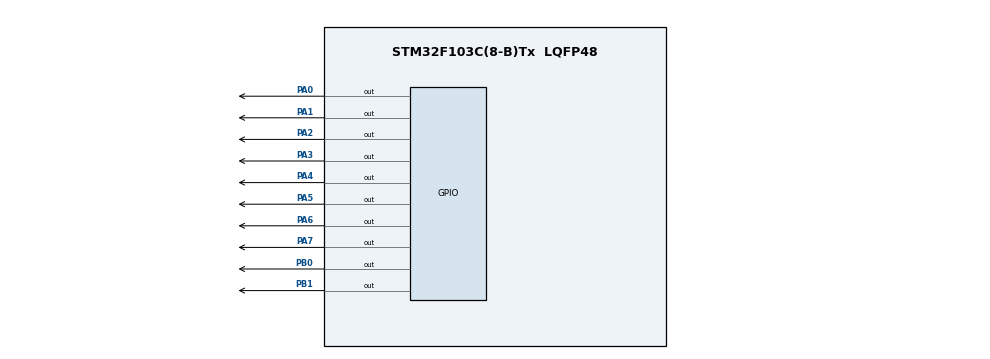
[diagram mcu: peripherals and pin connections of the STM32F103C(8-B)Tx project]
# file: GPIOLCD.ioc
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Mcu.Family=STM32F1
Mcu.Name=STM32F103C(8-B)Tx
Mcu.Package=LQFP48
NVIC.PriorityGroup=NVIC_PRIORITYGROUP_4
PA0-WKUP.Signal=GPIO_Output
PA1.Signal=GPIO_Output
PA2.Signal=GPIO_Output
PA3.Signal=GPIO_Output
PA4.Signal=GPIO_Output
PA5.Signal=GPIO_Output
PA6.Signal=GPIO_Output
PA7.Signal=GPIO_Output
PB0.Signal=GPIO_Output
PB1.Signal=GPIO_Output
ProjectManager.HeapSize=0x200
ProjectManager.StackSize=0x400
ProjectManager.TargetToolchain=MDK-ARM V5.32
RCC.APB1Freq_Value=8000000
RCC.APB2Freq_Value=8000000
VP_SYS_VS_ND.Mode=No_Debug
board=custom

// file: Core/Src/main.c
/* USER CODE BEGIN Header */
/**
  ******************************************************************************
  * @file           : main.c
  * @brief          : Main program body
  ******************************************************************************
  * @attention
  *
  * Copyright (c) 2024 STMicroelectronics.
  * All rights reserved.
  *
  * This software is licensed under terms that can be found in the LICENSE file
  * in the root directory of this software component.
  * If no LICENSE file comes with this software, it is provided AS-IS.
  *
  ******************************************************************************
  */
/* USER CODE END Header */
#include "main.h"

void SystemClock_Config(void);
static void MX_GPIO_Init(void);

/* USER CODE BEGIN 0 */
void send8BitLCD(char D){
	GPIOA->BSRR=D&1?(1):(1<<16);
	GPIOA->BSRR=D&2?(1<<1):(1<<17);
	GPIOA->BSRR=D&4?(1<<2):(1<<18);
	GPIOA->BSRR=D&8?(1<<3):(1<<19);
	GPIOA->BSRR=D&16?(1<<4):(1<<20);
	GPIOA->BSRR=D&32?(1<<5):(1<<21);
	GPIOA->BSRR=D&64?(1<<6):(1<<22);
	GPIOA->BSRR=D&128?(1<<7):(1<<23);
}
void sendCMD2LCD(char cmd){
	//B1. Done
	//B2. Dat chan RS =0, de noi rang cmd  là lenh
	GPIOB->BSRR=GPIO_PIN_0<<16;
	//B3. Gui 8 bit CMD vao 8 pin
	send8BitLCD(cmd);
	//B4. Enable cho cmd-->lcd

	/*
	Day la su khac biet khi su dung HAL API va lap trinh thanh ghi truc tiep
	Do khi set bit pin1 dung HAL API thi khi set bit se xay ra do tre va luc do
	lcd co the nhan tin hieu enable tu stm32 nhung khi lap trinh bang thanh ghi thi
	kha nang xu ly cau lenh nhanh hon nhieu so voi HAL nen lcd chua nhan duoc tin hieu
	kich hoat tu stm32 do dó phai them delay giua 2 lan set bit neu su dung thanh ghi
	*/
	/*HAL_GPIO_WritePin(GPIOB, GPIO_PIN_1,  GPIO_PIN_SET);
	HAL_GPIO_WritePin(GPIOB, GPIO_PIN_1,  GPIO_PIN_RESET);*/
	GPIOB->BSRR=1<<1;
	HAL_Delay(1);
	GPIOB->BSRR=1<<17;

	//
	HAL_Delay(1);
}
void sendChar2LCD(char Char) {
	//B1. Done
	//B2. Dat chan RS =1,
	GPIOB->BSRR=GPIO_PIN_0;
	//B3. Gui 8 bit CMD vao 8 pin
	send8BitLCD(Char);
	//B4. Enable cho cmd-->lcd

	/*
	Day la su khac biet khi su dung HAL API va lap trinh thanh ghi truc tiep
	Do khi set bit pin1 dung HAL API thi khi set bit se xay ra do tre va luc do
	lcd co the nhan tin hieu enable tu stm32 nhung khi lap trinh bang thanh ghi thi
	kha nang xu ly cau lenh nhanh hon nhieu so voi HAL nen lcd chua nhan duoc tin hieu
	kich hoat tu stm32 do dó phai them delay giua 2 lan set bit neu su dung thanh ghi
	*/
	/*HAL_GPIO_WritePin(GPIOB, GPIO_PIN_1,  GPIO_PIN_SET);
	HAL_GPIO_WritePin(GPIOB, GPIO_PIN_1,  GPIO_PIN_RESET);*/
	GPIOB->BSRR=1<<1;
	HAL_Delay(1);
	GPIOB->BSRR=1<<17;

	//
	HAL_Delay(1);
}
void sendString2LCD(char *str) {
   for (int i=0; str[i] != '\0';  i++) {
			sendChar2LCD(str[i]);
   }
}
/* USER CODE END 0 */

int main(void)
{

  /* MCU Configuration--------------------------------------------------------*/

  /* Reset of all peripherals, Initializes the Flash interface and the Systick. */
  HAL_Init();

  /* Configure the system clock */
  SystemClock_Config();

  /* Initialize all configured peripherals */
  MX_GPIO_Init();
  /* USER CODE BEGIN 2 */
   // Xoa noi dung tren LCD
   sendCMD2LCD(0x01);
	 // Bat hien thi man hinh, tat con tro
	 sendCMD2LCD(0x0C);
	 // Test thu chuoi Hello
	 sendString2LCD("Hello world!");
	 // Xuong dong 2
	 sendCMD2LCD(0x38);   // CHE DO 2 DONG
	 sendCMD2LCD(0xC0);	  // TRO XUONG DONG 2
	 sendString2LCD("Ksrind.TM1208");
	 HAL_Delay(1000);
  /* USER CODE END 2 */

  /* Infinite loop */
  while (1)
  {

  }
}

void SystemClock_Config(void)
{
  RCC_OscInitTypeDef RCC_OscInitStruct = {0};
  RCC_ClkInitTypeDef RCC_ClkInitStruct = {0};

  /** Initializes the RCC Oscillators according to the specified parameters
  * in the RCC_OscInitTypeDef structure.
  */
  RCC_OscInitStruct.OscillatorType = RCC_OSCILLATORTYPE_HSI;
  RCC_OscInitStruct.HSIState = RCC_HSI_ON;
  RCC_OscInitStruct.HSICalibrationValue = RCC_HSICALIBRATION_DEFAULT;
  RCC_OscInitStruct.PLL.PLLState = RCC_PLL_NONE;
  if (HAL_RCC_OscConfig(&RCC_OscInitStruct) != HAL_OK)
  {
    Error_Handler();
  }

  /** Initializes the CPU, AHB and APB buses clocks
  */
  RCC_ClkInitStruct.ClockType = RCC_CLOCKTYPE_HCLK|RCC_CLOCKTYPE_SYSCLK
                              |RCC_CLOCKTYPE_PCLK1|RCC_CLOCKTYPE_PCLK2;
  RCC_ClkInitStruct.SYSCLKSource = RCC_SYSCLKSOURCE_HSI;
  RCC_ClkInitStruct.AHBCLKDivider = RCC_SYSCLK_DIV1;
  RCC_ClkInitStruct.APB1CLKDivider = RCC_HCLK_DIV1;
  RCC_ClkInitStruct.APB2CLKDivider = RCC_HCLK_DIV1;

  if (HAL_RCC_ClockConfig(&RCC_ClkInitStruct, FLASH_LATENCY_0) != HAL_OK)
  {
    Error_Handler();
  }
}

static void MX_GPIO_Init(void)
{
  GPIO_InitTypeDef GPIO_InitStruct = {0};

  /* GPIO Ports Clock Enable */
  __HAL_RCC_GPIOA_CLK_ENABLE();
  __HAL_RCC_GPIOB_CLK_ENABLE();

  /*Configure GPIO pin Output Level */
  HAL_GPIO_WritePin(GPIOA, GPIO_PIN_0|GPIO_PIN_1|GPIO_PIN_2|GPIO_PIN_3
                          |GPIO_PIN_4|GPIO_PIN_5|GPIO_PIN_6|GPIO_PIN_7, GPIO_PIN_RESET);

  /*Configure GPIO pin Output Level */
  HAL_GPIO_WritePin(GPIOB, GPIO_PIN_0|GPIO_PIN_1, GPIO_PIN_RESET);

  /*Configure GPIO pins : PA0 PA1 PA2 PA3
                           PA4 PA5 PA6 PA7 */
  GPIO_InitStruct.Pin = GPIO_PIN_0|GPIO_PIN_1|GPIO_PIN_2|GPIO_PIN_3
                          |GPIO_PIN_4|GPIO_PIN_5|GPIO_PIN_6|GPIO_PIN_7;
  GPIO_InitStruct.Mode = GPIO_MODE_OUTPUT_PP;
  GPIO_InitStruct.Pull = GPIO_NOPULL;
  GPIO_InitStruct.Speed = GPIO_SPEED_FREQ_LOW;
  HAL_GPIO_Init(GPIOA, &GPIO_InitStruct);

  /*Configure GPIO pins : PB0 PB1 */
  GPIO_InitStruct.Pin = GPIO_PIN_0|GPIO_PIN_1;
  GPIO_InitStruct.Mode = GPIO_MODE_OUTPUT_PP;
  GPIO_InitStruct.Pull = GPIO_NOPULL;
  GPIO_InitStruct.Speed = GPIO_SPEED_FREQ_LOW;
  HAL_GPIO_Init(GPIOB, &GPIO_InitStruct);

}

void Error_Handler(void)
{
  __disable_irq();
  while (1)
  {
  }
}
